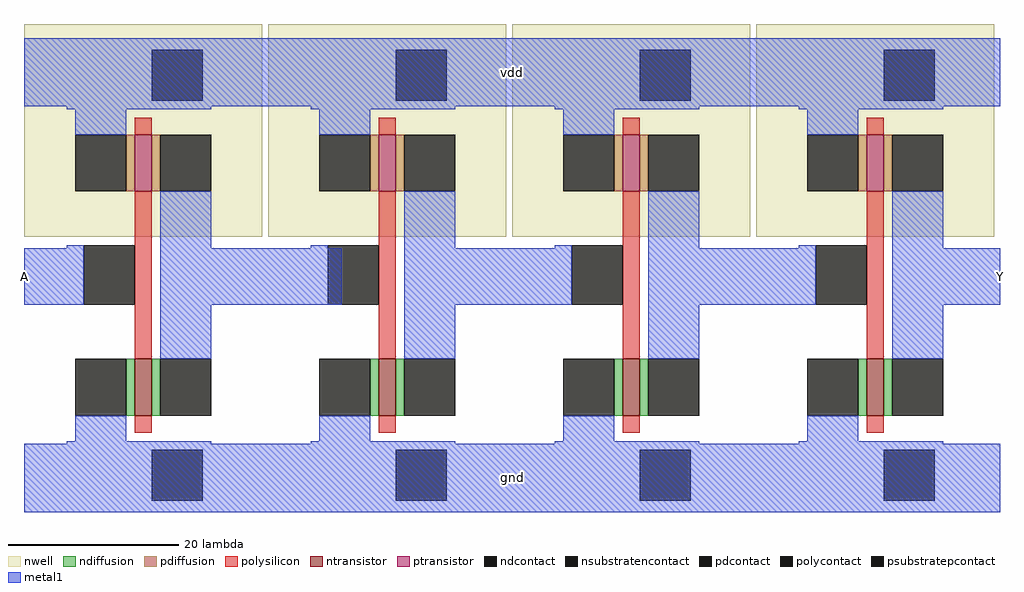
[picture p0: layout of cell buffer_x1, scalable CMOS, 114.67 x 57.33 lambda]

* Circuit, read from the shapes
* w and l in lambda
.subckt buffer_x1 A Y vdd gnd
M1 inverter_x1_2/A A gnd gnd nfet w=6.667 l=2
M2 inverter_x1_3/A inverter_x1_2/A gnd gnd nfet w=6.667 l=2
M3 inverter_x1_0/A inverter_x1_3/A gnd gnd nfet w=6.667 l=2
M4 Y inverter_x1_0/A gnd gnd nfet w=6.667 l=2
M5 inverter_x1_2/A A vdd vdd pfet w=6.666 l=2
M6 inverter_x1_3/A inverter_x1_2/A vdd vdd pfet w=6.666 l=2
M7 inverter_x1_0/A inverter_x1_3/A vdd vdd pfet w=6.666 l=2
M8 Y inverter_x1_0/A vdd vdd pfet w=6.666 l=2
.ends

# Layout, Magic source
magic
tech scmos
magscale 1 3
<< metal1 >>
rect 0 143 344 167
rect 0 73 21 93
rect 48 73 112 93
rect 134 73 193 93
rect 220 73 279 93
rect 306 73 344 93
rect 0 0 344 24
use inverter_x1  inverter_x1_0 ~/ETRI050_DesignKit/Tutorials/1-3_Inverter_Netgen/../1-2_Inverter_Magic
transform 1 0 288 0 1 103
box -30 -103 56 70
use inverter_x1  inverter_x1_1
transform 1 0 30 0 1 103
box -30 -103 56 70
use inverter_x1  inverter_x1_2
transform 1 0 116 0 1 103
box -30 -103 56 70
use inverter_x1  inverter_x1_3
transform 1 0 202 0 1 103
box -30 -103 56 70
<< labels >>
rlabel metal1 0 73 0 93 7 A
port 0 w
rlabel metal1 344 73 344 93 3 Y
port 1 e
rlabel metal1 0 143 344 167 0 vdd
port 2 nsew
rlabel metal1 0 0 344 24 0 gnd
port 3 nsew
<< end >>

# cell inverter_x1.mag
magic
tech scmos
magscale 1 3
<< nwell >>
rect -30 -6 54 69
<< ntransistor >>
rect 9 -69 15 -49
<< ptransistor >>
rect 9 10 15 30
<< ndiffusion >>
rect 6 -69 9 -49
rect 15 -69 18 -49
<< pdiffusion >>
rect 6 10 9 30
rect 15 10 18 30
<< ndcontact >>
rect -12 -69 6 -49
rect 18 -69 36 -49
<< pdcontact >>
rect -12 10 6 30
rect 18 10 36 30
<< psubstratepcontact >>
rect 15 -99 33 -81
<< nsubstratencontact >>
rect 15 42 33 60
<< polysilicon >>
rect 9 30 15 36
rect 9 -49 15 10
rect 9 -75 15 -69
<< polycontact >>
rect -9 -30 9 -9
<< metal1 >>
rect -15 60 36 63
rect -15 42 15 60
rect 33 42 36 60
rect -15 39 36 42
rect -12 30 6 39
rect -15 -30 -9 -9
rect 18 -49 36 10
rect -12 -78 6 -69
rect -15 -81 36 -78
rect -15 -99 15 -81
rect 33 -99 36 -81
rect -15 -102 36 -99
<< labels >>
rlabel metal1 -15 39 15 63 0 vdd
port 2 nsew
rlabel metal1 -15 -102 15 -78 0 gnd
port 3 nsew
rlabel metal1 -15 -30 -9 -9 7 A
port 0 w
rlabel metal1 18 -48 36 9 3 Y
port 1 e
<< end >>
